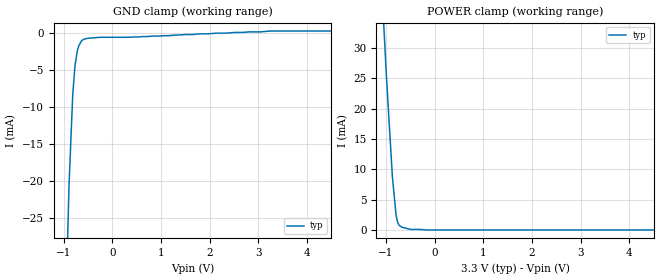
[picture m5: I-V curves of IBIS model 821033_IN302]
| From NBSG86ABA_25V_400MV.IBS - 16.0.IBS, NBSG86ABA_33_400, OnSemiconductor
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| COPYRIGHT(C) MENTOR GRAPHICS CORPORATION 2002 ALL
| RIGHTS RESERVED. THIS WORK CONTAINS PROPRIETARY
| INFORMATION WHICH IS THE PROPERTY OF MENTOR GRAPHICS
| CORPORATION OR ITS LICENSORS. USE OF THESE MATERIALS
| IS SUBJECT TO THE TERMS BELOW.
| USE: MENTOR GRAPHICS HAS LICENSED IBIS MODELS TO
| SPECIFIC INTEGRATED CIRCUIT SUPPLIERS ("IC VENDORS")
| FOR USE AND DISTRIBUTION AS FOLLOWS: EACH IC VENDOR
| MAY USE IBIS MODELS, AND DISTRIBUTE THEM TO IC VENDOR'S
| CUSTOMERS TO USE, SOLELY FOR DEVELOPING PRINTED
| CIRCUIT BOARD DESIGNS. NO OTHER USE OR DISTRIBUTION
| OF THESE MATERIALS IS PERMITTED.
| Model Application Version 1.89 2/18/99.
[Model] 821033_IN302
Model_type Input
Vinl = 600.0mV
Vinh = 1.400V
C_comp 500.0fF NA NA
| variable typ   min   max
[Voltage Range] 3.300V NA NA
[GND Clamp Reference] 0.000V NA NA
[POWER Clamp Reference] 3.300V NA NA
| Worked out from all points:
|   GND clamp passes 1 mA (typ) near -0.61 V on its own axis
|   POWER clamp passes 1 mA (typ) near -0.75 V on its own axis
[GND Clamp]
-3.3V     -616.4mA   NA         NA
-887mV    -20.51mA   NA         NA
-811.1mV  -8.353mA   NA         NA
-765.5mV  -4.492mA   NA         NA
-719.9mV  -2.509mA   NA         NA
-689.5mV  -1.8mA     NA         NA
-628.4mV  -1.058mA   NA         NA
-572.8mV  -839.3uA   NA         NA
-240.8mV  -610uA     NA         NA
382.9mV   -602.5uA   NA         NA
3.253V    236.6uA    NA         NA
6.6V      236.6uA    NA         NA
[POWER Clamp]
-3.3V     386.6mA    NA         NA
-992mV    25.24mA    NA         NA
-870.3mV  8.825mA    NA         NA
-794.4mV  2.455mA    NA         NA
-764mV    1.321mA    NA         NA
-733.5mV  795.9uA    NA         NA
-672.5mV  441.5uA    NA         NA
-492.8mV  91.47uA    NA         NA
-313.2mV  91.47uA    NA         NA
-156.6mV  0A         NA         NA
6.6V      0A         NA         NA
